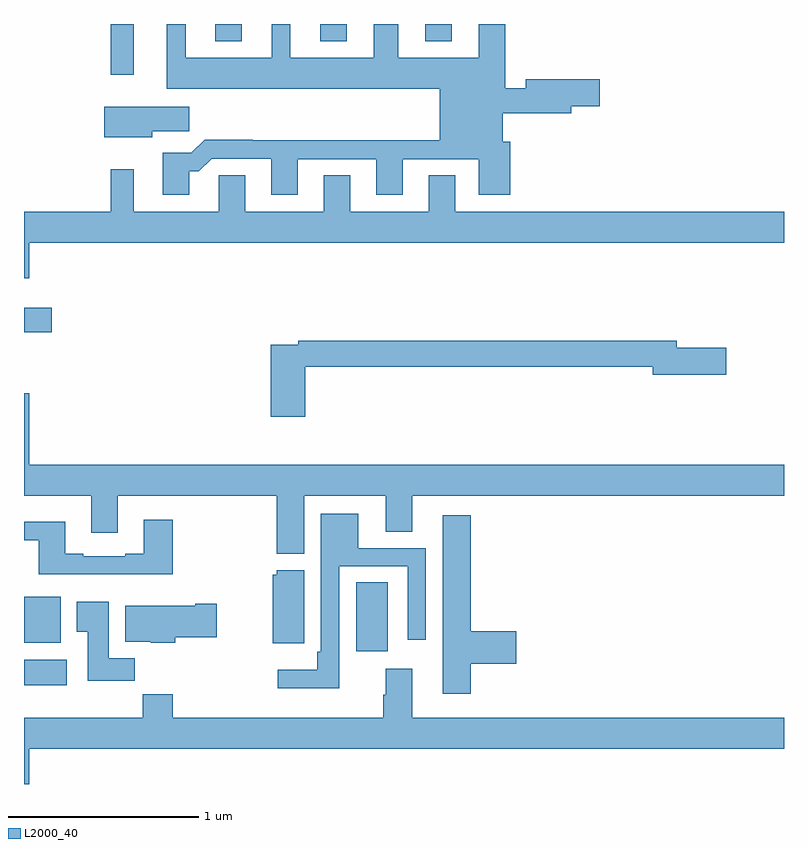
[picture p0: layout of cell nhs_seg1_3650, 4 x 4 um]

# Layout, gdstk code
import gdstk
lib = gdstk.Library(unit=1e-6, precision=1e-09)
def R(c, l, rs):  # rectangles x0, y0, x1, y1
    for r in rs: c.add(gdstk.rectangle(r[:2], r[2:], *l))
def A(c, l, x, y, w, h, nx, ny, dx, dy):  # array of equal rectangles
    R(c, l, [(x+i*dx, y+j*dy, x+i*dx+w, y+j*dy+h) for i in range(nx) for j in range(ny)])
def P(c, l, *ps):  # polygons
    for p in ps: c.add(gdstk.Polygon(p, *l))
L2000_40 = (2000, 40)

nhs_seg1_3650 = lib.new_cell('nhs_seg1_3650')
A(nhs_seg1_3650, L2000_40, 310.007, 570.107, 0.14, 0.092, 3, 1, 0.552, 0)
R(nhs_seg1_3650, L2000_40, [(309,566.72,309.226,566.854), (310.748,566.898,310.915,567.26), (309,566.942,309.193,567.184), (309,568.576,309.145,568.705), (309.456,569.931,309.577,570.199)])
P(nhs_seg1_3650, L2000_40, [(309.871,569.423),(309.92,569.423),(309.987,569.49),(310.301,569.49),(310.301,569.301),(310.441,569.301),(310.441,569.487),(310.853,569.487),(310.853,569.301),(310.993,569.301),(310.993,569.487),(311.393,569.487),(311.393,569.301),(311.558,569.301),(311.558,569.58),(311.521,569.58),(311.521,569.728),(311.881,569.728),(311.881,569.765),(312.031,569.765),(312.031,569.907),(311.642,569.907),(311.642,569.86),(311.534,569.86),(311.534,570.199),(311.393,570.199),(311.393,570.022),(310.969,570.022),(310.969,570.199),(310.841,570.199),(310.841,570.022),(310.402,570.022),(310.402,570.199),(310.304,570.199),(310.304,570.022),(309.85,570.022),(309.85,570.199),(309.752,570.199),(309.752,569.858),(311.189,569.858),(311.189,569.588),(310.205,569.588),(310.205,569.591),(309.95,569.591),(309.88,569.521),(309.731,569.521),(309.731,569.301),(309.871,569.301)],
  [(309.676,569.635),(309.871,569.635),(309.871,569.764),(309.422,569.764),(309.422,569.603),(309.676,569.603)],
  [(309.028,569.048),(313,569.048),(313,569.212),(311.269,569.212),(311.269,569.402),(311.129,569.402),(311.129,569.212),(310.717,569.212),(310.717,569.402),(310.577,569.402),(310.577,569.212),(310.165,569.212),(310.165,569.402),(310.026,569.402),(310.026,569.212),(309.577,569.212),(309.577,569.434),(309.456,569.434),(309.456,569.212),(309,569.212),(309,568.86),(309.028,568.86)],
  [(310.481,568.396),(312.308,568.396),(312.308,568.354),(312.697,568.354),(312.697,568.496),(312.436,568.496),(312.436,568.532),(310.444,568.532),(310.444,568.512),(310.298,568.512),(310.298,568.131),(310.481,568.131)],
  [(310.474,567.716),(310.904,567.716),(310.904,567.526),(311.044,567.526),(311.044,567.716),(313,567.716),(313,567.88),(309.028,567.88),(309.028,568.255),(309,568.255),(309,567.716),(309.353,567.716),(309.353,567.522),(309.493,567.522),(309.493,567.716),(310.331,567.716),(310.331,567.41),(310.474,567.41)],
  [(310.659,567.345),(311.019,567.345),(311.019,566.958),(311.115,566.958),(311.115,567.441),(310.759,567.441),(310.759,567.622),(310.563,567.622),(310.563,566.896),(310.543,566.896),(310.543,566.8),(310.335,566.8),(310.335,566.702),(310.659,566.702)],
  [(311.351,566.831),(311.59,566.831),(311.59,567.002),(311.351,567.002),(311.351,567.613),(311.204,567.613),(311.204,566.673),(311.351,566.673)],
  [(309.782,567.589),(309.629,567.589),(309.629,567.412),(309.533,567.412),(309.533,567.399),(309.313,567.399),(309.313,567.412),(309.217,567.412),(309.217,567.58),(309,567.58),(309,567.483),(309.077,567.483),(309.077,567.302),(309.782,567.302)],
  [(310.474,567.325),(310.329,567.325),(310.329,567.3),(310.31,567.3),(310.31,566.939),(310.474,566.939)],
  [(309.584,566.86),(309.445,566.86),(309.445,567.157),(309.278,567.157),(309.278,567.001),(309.335,567.001),(309.335,566.742),(309.584,566.742)],
  [(309.797,566.971),(310.015,566.971),(310.015,567.149),(309.902,567.149),(309.902,567.136),(309.533,567.136),(309.533,566.948),(309.666,566.948),(309.666,566.942),(309.797,566.942)],
  [(309.028,566.384),(313,566.384),(313,566.548),(311.044,566.548),(311.044,566.806),(310.904,566.806),(310.904,566.669),(310.892,566.669),(310.892,566.548),(309.782,566.548),(309.782,566.672),(309.625,566.672),(309.625,566.548),(309,566.548),(309,566.199),(309.028,566.199)])

lib.write_gds('nhs_seg1_3650.gds')
